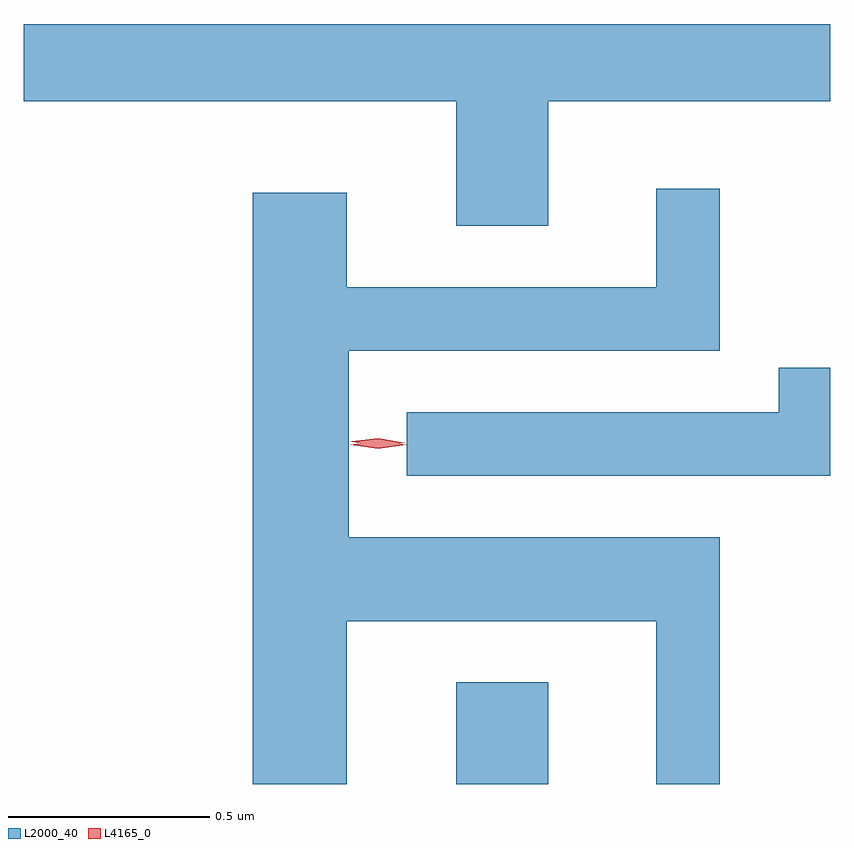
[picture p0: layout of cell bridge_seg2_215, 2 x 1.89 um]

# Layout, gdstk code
import gdstk
lib = gdstk.Library(unit=1e-6, precision=1e-09)
def R(c, l, rs):  # rectangles x0, y0, x1, y1
    for r in rs: c.add(gdstk.rectangle(r[:2], r[2:], *l))
def P(c, l, *ps):  # polygons
    for p in ps: c.add(gdstk.Polygon(p, *l))
L2000_40 = (2000, 40)
L4165_0 = (4165, 0)

bridge_seg2_215 = lib.new_cell('bridge_seg2_215')
R(bridge_seg2_215, L2000_40, [(916.211,977.802,916.439,978.054)])
P(bridge_seg2_215, L2000_40, [(916.439,979.496),(917.138,979.496),(917.138,979.687),(915.138,979.687),(915.138,979.496),(916.211,979.496),(916.211,979.186),(916.439,979.186)],
  [(915.939,978.206),(916.706,978.206),(916.706,977.802),(916.864,977.802),(916.864,978.414),(915.944,978.414),(915.944,978.876),(916.864,978.876),(916.864,979.278),(916.706,979.278),(916.706,979.034),(915.939,979.034),(915.939,979.269),(915.706,979.269),(915.706,977.802),(915.939,977.802)],
  [(917.138,978.834),(917.011,978.834),(917.011,978.724),(916.088,978.724),(916.088,978.566),(917.138,978.566)])
P(bridge_seg2_215, L4165_0, [(916.016,978.64),(915.951,978.651),(915.95,978.652),(915.951,978.652),(916.017,978.66),(916.082,978.649),(916.083,978.649),(916.082,978.648)],
  [(916.017,978.633),(915.948,978.643),(915.947,978.643),(915.948,978.644),(916.017,978.653),(916.086,978.644),(916.086,978.643),(916.086,978.643)])

lib.write_gds('bridge_seg2_215.gds')
